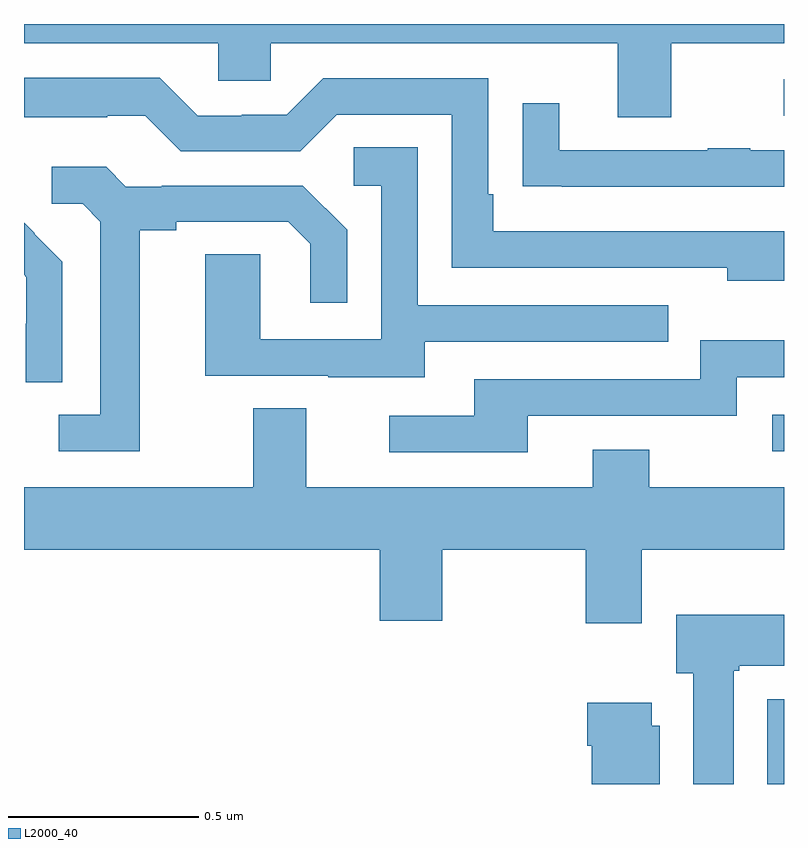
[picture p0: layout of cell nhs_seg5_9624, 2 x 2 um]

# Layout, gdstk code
import gdstk
lib = gdstk.Library(unit=1e-6, precision=1e-09)
def R(c, l, rs):  # rectangles x0, y0, x1, y1
    for r in rs: c.add(gdstk.rectangle(r[:2], r[2:], *l))
def P(c, l, *ps):  # polygons
    for p in ps: c.add(gdstk.Polygon(p, *l))
L2000_40 = (2000, 40)

nhs_seg5_9624 = lib.new_cell('nhs_seg5_9624')
R(nhs_seg5_9624, L2000_40, [(237.956,866.799,238,867.022), (237.969,867.675,238,867.771), (237.999,868.557,238,868.653)])
P(nhs_seg5_9624, L2000_40, [(237.703,868.748),(238,868.748),(238,868.799),(236,868.799),(236,868.748),(236.511,868.748),(236.511,868.65),(236.649,868.65),(236.649,868.748),(237.563,868.748),(237.563,868.554),(237.703,868.554)],
  [(238,868.254),(237.235,868.254),(237.235,868.351),(237.222,868.351),(237.222,868.656),(236.787,868.656),(236.691,868.56),(236.573,868.56),(236.573,868.557),(236.457,868.557),(236.357,868.657),(236,868.657),(236,868.553),(236.219,868.553),(236.219,868.557),(236.319,868.557),(236.412,868.464),(236.727,868.464),(236.823,868.56),(237.126,868.56),(237.126,868.158),(237.851,868.158),(237.851,868.124),(238,868.124)],
  [(238,868.467),(237.911,868.467),(237.911,868.472),(237.799,868.472),(237.799,868.467),(237.409,868.467),(237.409,868.591),(237.313,868.591),(237.313,868.372),(237.415,868.372),(237.415,868.371),(238,868.371)],
  [(237.055,867.963),(237.695,867.963),(237.695,868.059),(237.036,868.059),(237.036,868.475),(236.868,868.475),(236.868,868.374),(236.94,868.374),(236.94,867.969),(236.622,867.969),(236.622,868.193),(236.477,868.193),(236.477,867.873),(236.801,867.873),(236.801,867.869),(237.055,867.869)],
  [(236.305,868.256),(236.401,868.256),(236.401,868.278),(236.696,868.278),(236.753,868.221),(236.753,868.065),(236.85,868.065),(236.85,868.258),(236.734,868.374),(236.362,868.374),(236.362,868.371),(236.268,868.371),(236.216,868.423),(236.073,868.423),(236.073,868.326),(236.154,868.326),(236.201,868.279),(236.201,867.771),(236.091,867.771),(236.091,867.675),(236.305,867.675)],
  [(236.1,868.174),(236.027,868.247),(236.028,868.248),(236,868.276),(236,868.139),(236.006,868.133),(236.006,868.01),(236.004,868.01),(236.004,867.856),(236.1,867.856)],
  [(237.325,867.768),(237.876,867.768),(237.876,867.87),(238,867.87),(238,867.967),(237.78,867.967),(237.78,867.864),(237.185,867.864),(237.185,867.768),(236.961,867.768),(236.961,867.672),(237.325,867.672)],
  [(237.625,867.416),(238,867.416),(238,867.58),(237.645,867.58),(237.645,867.679),(237.497,867.679),(237.497,867.58),(236.743,867.58),(236.743,867.788),(236.603,867.788),(236.603,867.58),(236,867.58),(236,867.416),(236.936,867.416),(236.936,867.228),(237.1,867.228),(237.1,867.416),(237.478,867.416),(237.478,867.222),(237.625,867.222)],
  [(237.868,867.097),(237.882,867.097),(237.882,867.11),(238,867.11),(238,867.244),(237.716,867.244),(237.716,867.09),(237.761,867.09),(237.761,866.799),(237.868,866.799)],
  [(237.673,866.952),(237.652,866.952),(237.652,867.013),(237.482,867.013),(237.482,866.9),(237.494,866.9),(237.494,866.799),(237.673,866.799)])

lib.write_gds('nhs_seg5_9624.gds')
